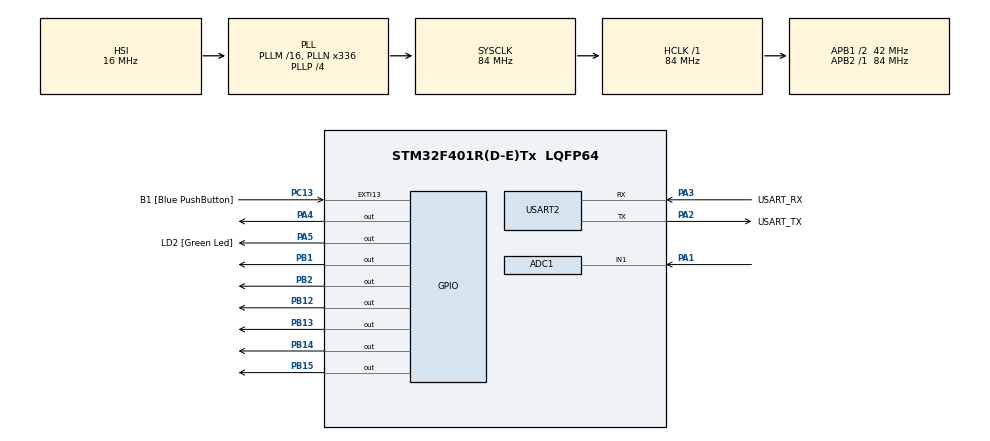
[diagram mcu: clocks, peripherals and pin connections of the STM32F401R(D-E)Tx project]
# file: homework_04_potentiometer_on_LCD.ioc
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ADC1.Channel-0\#ChannelRegularConversion=ADC_CHANNEL_1
ADC1.ExternalTrigConv=ADC_EXTERNALTRIGCONV_T3_TRGO
ADC1.NbrOfConversionFlag=1
ADC1.Rank-0\#ChannelRegularConversion=1
ADC1.SamplingTime-0\#ChannelRegularConversion=ADC_SAMPLETIME_480CYCLES
ADC1.master=1
Mcu.Family=STM32F4
Mcu.Name=STM32F401R(D-E)Tx
Mcu.Package=LQFP64
NVIC.ADC_IRQn=true\:0\:0\:false\:false\:true\:true\:true\:true
NVIC.PriorityGroup=NVIC_PRIORITYGROUP_0
PA1.Signal=SharedAnalog_PA1
PA13.GPIO_Label=TMS
PA13.Mode=Serial_Wire
PA13.Signal=SYS_JTMS-SWDIO
PA14.GPIO_Label=TCK
PA14.Mode=Serial_Wire
PA14.Signal=SYS_JTCK-SWCLK
PA2.GPIO_Label=USART_TX
PA2.GPIO_Mode=GPIO_MODE_AF_PP
PA2.GPIO_PuPd=GPIO_NOPULL
PA2.GPIO_Speed=GPIO_SPEED_FREQ_LOW
PA2.Mode=Asynchronous
PA2.Signal=USART2_TX
PA3.GPIO_Label=USART_RX
PA3.GPIO_Mode=GPIO_MODE_AF_PP
PA3.GPIO_PuPd=GPIO_NOPULL
PA3.GPIO_Speed=GPIO_SPEED_FREQ_LOW
PA3.Mode=Asynchronous
PA3.Signal=USART2_RX
PA4.Signal=GPIO_Output
PA5.GPIO_Label=LD2 [Green Led]
PA5.GPIO_Mode=GPIO_MODE_OUTPUT_PP
PA5.GPIO_PuPd=GPIO_NOPULL
PA5.GPIO_Speed=GPIO_SPEED_FREQ_LOW
PA5.Signal=GPIO_Output
PB1.Signal=GPIO_Output
PB12.Signal=GPIO_Output
PB13.Signal=GPIO_Output
PB14.Signal=GPIO_Output
PB15.Signal=GPIO_Output
PB2.Signal=GPIO_Output
PB3.GPIO_Label=SWO
PB3.Signal=SYS_JTDO-SWO
PC13-ANTI_TAMP.GPIO_Label=B1 [Blue PushButton]
PC13-ANTI_TAMP.GPIO_ModeDefaultEXTI=GPIO_MODE_IT_FALLING
PC13-ANTI_TAMP.GPIO_PuPd=GPIO_NOPULL
PC13-ANTI_TAMP.Signal=GPXTI13
PC14-OSC32_IN.Mode=LSE-External-Oscillator
PC14-OSC32_IN.Signal=RCC_OSC32_IN
PC15-OSC32_OUT.Mode=LSE-External-Oscillator
PC15-OSC32_OUT.Signal=RCC_OSC32_OUT
PH0\ -\ OSC_IN.Mode=HSE-External-Clock-Source
PH0\ -\ OSC_IN.Signal=RCC_OSC_IN
PH1\ -\ OSC_OUT.Mode=HSE-External-Clock-Source
PH1\ -\ OSC_OUT.Signal=RCC_OSC_OUT
ProjectManager.HeapSize=0x200
ProjectManager.StackSize=0x400
ProjectManager.TargetToolchain=STM32CubeIDE
RCC.48MHZClocksFreq_Value=48000000
RCC.AHBFreq_Value=84000000
RCC.APB1CLKDivider=RCC_HCLK_DIV2
RCC.APB1Freq_Value=42000000
RCC.APB1TimFreq_Value=84000000
RCC.APB2Freq_Value=84000000
RCC.APB2TimFreq_Value=84000000
RCC.CortexFreq_Value=84000000
RCC.HCLKFreq_Value=84000000
RCC.HSE_VALUE=8000000
RCC.HSI_VALUE=16000000
RCC.PLLN=336
RCC.PLLP=RCC_PLLP_DIV4
RCC.PLLQ=7
RCC.SYSCLKFreq_VALUE=84000000
RCC.SYSCLKSource=RCC_SYSCLKSOURCE_PLLCLK
RCC.VCOOutputFreq_Value=336000000
SH.SharedAnalog_PA1.0=GPIO_Analog
SH.SharedAnalog_PA1.1=ADC1_IN1,IN1
TIM3.Period=10000/5 - 1
TIM3.Prescaler=8400-1
TIM3.TIM_MasterOutputTrigger=TIM_TRGO_UPDATE
USART2.VirtualMode=VM_ASYNC
VP_TIM3_VS_ClockSourceINT.Mode=Internal
board=NUCLEO-F401RE

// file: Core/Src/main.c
/* USER CODE BEGIN Header */
/**
  ******************************************************************************
  * @file           : main.c
  * @brief          : Main program body
  ******************************************************************************
  * @attention
  *
  * Copyright (c) 2023 STMicroelectronics.
  * All rights reserved.
  *
  * This software is licensed under terms that can be found in the LICENSE file
  * in the root directory of this software component.
  * If no LICENSE file comes with this software, it is provided AS-IS.
  *
  ******************************************************************************
  */
/* USER CODE END Header */
#include "main.h"

/* USER CODE BEGIN Includes */
#include "PMDB16_LCD.h"
/* USER CODE END Includes */

ADC_HandleTypeDef hadc1;

TIM_HandleTypeDef htim3;

UART_HandleTypeDef huart2;

/* USER CODE BEGIN PV */
int conversion_value;
float voltage;
unsigned char message[20];
int length;
/* USER CODE END PV */

void SystemClock_Config(void);
static void MX_GPIO_Init(void);
static void MX_USART2_UART_Init(void);
static void MX_ADC1_Init(void);
static void MX_TIM3_Init(void);
/* USER CODE BEGIN PFP */

// ADC callback
void HAL_ADC_ConvCpltCallback(ADC_HandleTypeDef* hadc);
/* USER CODE END PFP */

int main(void)
{

  /* MCU Configuration--------------------------------------------------------*/

  /* Reset of all peripherals, Initializes the Flash interface and the Systick. */
  HAL_Init();

  /* Configure the system clock */
  SystemClock_Config();

  /* Initialize all configured peripherals */
  MX_GPIO_Init();
  MX_USART2_UART_Init();
  MX_ADC1_Init();
  MX_TIM3_Init();
  /* USER CODE BEGIN 2 */

  // initialize LCD
  lcd_initialize();
  lcd_backlight_ON();

  // ADC start
  HAL_ADC_Start_IT(&hadc1);
  // start timer
  HAL_TIM_Base_Start_IT(&htim3);

  /* USER CODE END 2 */

  /* Infinite loop */
  while (1)
  {

  }
}

void SystemClock_Config(void)
{
  RCC_OscInitTypeDef RCC_OscInitStruct = {0};
  RCC_ClkInitTypeDef RCC_ClkInitStruct = {0};

  /** Configure the main internal regulator output voltage
  */
  __HAL_RCC_PWR_CLK_ENABLE();
  __HAL_PWR_VOLTAGESCALING_CONFIG(PWR_REGULATOR_VOLTAGE_SCALE2);

  /** Initializes the RCC Oscillators according to the specified parameters
  * in the RCC_OscInitTypeDef structure.
  */
  RCC_OscInitStruct.OscillatorType = RCC_OSCILLATORTYPE_HSI;
  RCC_OscInitStruct.HSIState = RCC_HSI_ON;
  RCC_OscInitStruct.HSICalibrationValue = RCC_HSICALIBRATION_DEFAULT;
  RCC_OscInitStruct.PLL.PLLState = RCC_PLL_ON;
  RCC_OscInitStruct.PLL.PLLSource = RCC_PLLSOURCE_HSI;
  RCC_OscInitStruct.PLL.PLLM = 16;
  RCC_OscInitStruct.PLL.PLLN = 336;
  RCC_OscInitStruct.PLL.PLLP = RCC_PLLP_DIV4;
  RCC_OscInitStruct.PLL.PLLQ = 7;
  if (HAL_RCC_OscConfig(&RCC_OscInitStruct) != HAL_OK)
  {
    Error_Handler();
  }

  /** Initializes the CPU, AHB and APB buses clocks
  */
  RCC_ClkInitStruct.ClockType = RCC_CLOCKTYPE_HCLK|RCC_CLOCKTYPE_SYSCLK
                              |RCC_CLOCKTYPE_PCLK1|RCC_CLOCKTYPE_PCLK2;
  RCC_ClkInitStruct.SYSCLKSource = RCC_SYSCLKSOURCE_PLLCLK;
  RCC_ClkInitStruct.AHBCLKDivider = RCC_SYSCLK_DIV1;
  RCC_ClkInitStruct.APB1CLKDivider = RCC_HCLK_DIV2;
  RCC_ClkInitStruct.APB2CLKDivider = RCC_HCLK_DIV1;

  if (HAL_RCC_ClockConfig(&RCC_ClkInitStruct, FLASH_LATENCY_2) != HAL_OK)
  {
    Error_Handler();
  }
}

static void MX_ADC1_Init(void)
{

  ADC_ChannelConfTypeDef sConfig = {0};

  /** Configure the global features of the ADC (Clock, Resolution, Data Alignment and number of conversion)
  */
  hadc1.Instance = ADC1;
  hadc1.Init.ClockPrescaler = ADC_CLOCK_SYNC_PCLK_DIV4;
  hadc1.Init.Resolution = ADC_RESOLUTION_12B;
  hadc1.Init.ScanConvMode = DISABLE;
  hadc1.Init.ContinuousConvMode = DISABLE;
  hadc1.Init.DiscontinuousConvMode = DISABLE;
  hadc1.Init.ExternalTrigConvEdge = ADC_EXTERNALTRIGCONVEDGE_RISING;
  hadc1.Init.ExternalTrigConv = ADC_EXTERNALTRIGCONV_T3_TRGO;
  hadc1.Init.DataAlign = ADC_DATAALIGN_RIGHT;
  hadc1.Init.NbrOfConversion = 1;
  hadc1.Init.DMAContinuousRequests = DISABLE;
  hadc1.Init.EOCSelection = ADC_EOC_SINGLE_CONV;
  if (HAL_ADC_Init(&hadc1) != HAL_OK)
  {
    Error_Handler();
  }

  /** Configure for the selected ADC regular channel its corresponding rank in the sequencer and its sample time.
  */
  sConfig.Channel = ADC_CHANNEL_1;
  sConfig.Rank = 1;
  sConfig.SamplingTime = ADC_SAMPLETIME_480CYCLES;
  if (HAL_ADC_ConfigChannel(&hadc1, &sConfig) != HAL_OK)
  {
    Error_Handler();
  }

}

static void MX_TIM3_Init(void)
{

  TIM_ClockConfigTypeDef sClockSourceConfig = {0};
  TIM_MasterConfigTypeDef sMasterConfig = {0};

  htim3.Instance = TIM3;
  htim3.Init.Prescaler = 8400-1;
  htim3.Init.CounterMode = TIM_COUNTERMODE_UP;
  htim3.Init.Period = 10000/5 - 1;
  htim3.Init.ClockDivision = TIM_CLOCKDIVISION_DIV1;
  htim3.Init.AutoReloadPreload = TIM_AUTORELOAD_PRELOAD_DISABLE;
  if (HAL_TIM_Base_Init(&htim3) != HAL_OK)
  {
    Error_Handler();
  }
  sClockSourceConfig.ClockSource = TIM_CLOCKSOURCE_INTERNAL;
  if (HAL_TIM_ConfigClockSource(&htim3, &sClockSourceConfig) != HAL_OK)
  {
    Error_Handler();
  }
  sMasterConfig.MasterOutputTrigger = TIM_TRGO_UPDATE;
  sMasterConfig.MasterSlaveMode = TIM_MASTERSLAVEMODE_DISABLE;
  if (HAL_TIMEx_MasterConfigSynchronization(&htim3, &sMasterConfig) != HAL_OK)
  {
    Error_Handler();
  }

}

static void MX_USART2_UART_Init(void)
{

  huart2.Instance = USART2;
  huart2.Init.BaudRate = 115200;
  huart2.Init.WordLength = UART_WORDLENGTH_8B;
  huart2.Init.StopBits = UART_STOPBITS_1;
  huart2.Init.Parity = UART_PARITY_NONE;
  huart2.Init.Mode = UART_MODE_TX_RX;
  huart2.Init.HwFlowCtl = UART_HWCONTROL_NONE;
  huart2.Init.OverSampling = UART_OVERSAMPLING_16;
  if (HAL_UART_Init(&huart2) != HAL_OK)
  {
    Error_Handler();
  }

}

static void MX_GPIO_Init(void)
{
  GPIO_InitTypeDef GPIO_InitStruct = {0};

  /* GPIO Ports Clock Enable */
  __HAL_RCC_GPIOC_CLK_ENABLE();
  __HAL_RCC_GPIOH_CLK_ENABLE();
  __HAL_RCC_GPIOA_CLK_ENABLE();
  __HAL_RCC_GPIOB_CLK_ENABLE();

  /*Configure GPIO pin Output Level */
  HAL_GPIO_WritePin(GPIOA, GPIO_PIN_4|LD2_Pin, GPIO_PIN_RESET);

  /*Configure GPIO pin Output Level */
  HAL_GPIO_WritePin(GPIOB, GPIO_PIN_1|GPIO_PIN_2|GPIO_PIN_12|GPIO_PIN_13
                          |GPIO_PIN_14|GPIO_PIN_15, GPIO_PIN_RESET);

  /*Configure GPIO pin : B1_Pin */
  GPIO_InitStruct.Pin = B1_Pin;
  GPIO_InitStruct.Mode = GPIO_MODE_IT_FALLING;
  GPIO_InitStruct.Pull = GPIO_NOPULL;
  HAL_GPIO_Init(B1_GPIO_Port, &GPIO_InitStruct);

  /*Configure GPIO pins : PA4 LD2_Pin */
  GPIO_InitStruct.Pin = GPIO_PIN_4|LD2_Pin;
  GPIO_InitStruct.Mode = GPIO_MODE_OUTPUT_PP;
  GPIO_InitStruct.Pull = GPIO_NOPULL;
  GPIO_InitStruct.Speed = GPIO_SPEED_FREQ_LOW;
  HAL_GPIO_Init(GPIOA, &GPIO_InitStruct);

  /*Configure GPIO pins : PB1 PB2 PB12 PB13
                           PB14 PB15 */
  GPIO_InitStruct.Pin = GPIO_PIN_1|GPIO_PIN_2|GPIO_PIN_12|GPIO_PIN_13
                          |GPIO_PIN_14|GPIO_PIN_15;
  GPIO_InitStruct.Mode = GPIO_MODE_OUTPUT_PP;
  GPIO_InitStruct.Pull = GPIO_NOPULL;
  GPIO_InitStruct.Speed = GPIO_SPEED_FREQ_LOW;
  HAL_GPIO_Init(GPIOB, &GPIO_InitStruct);

}

/* USER CODE BEGIN 4 */
void HAL_ADC_ConvCpltCallback(ADC_HandleTypeDef* hadc) {
	if(hadc != &hadc1) return;

	conversion_value = HAL_ADC_GetValue(&hadc1);
    voltage =  conversion_value * 3.3 / 4096.0;
    length = snprintf(message, 20, "Voltage: %.3f", voltage);
    lcd_println(message, 0);
    lcd_drawBar((int) (voltage / 3.3 * 80));
}
/* USER CODE END 4 */

void Error_Handler(void)
{
  __disable_irq();
  while (1)
  {
  }
}
